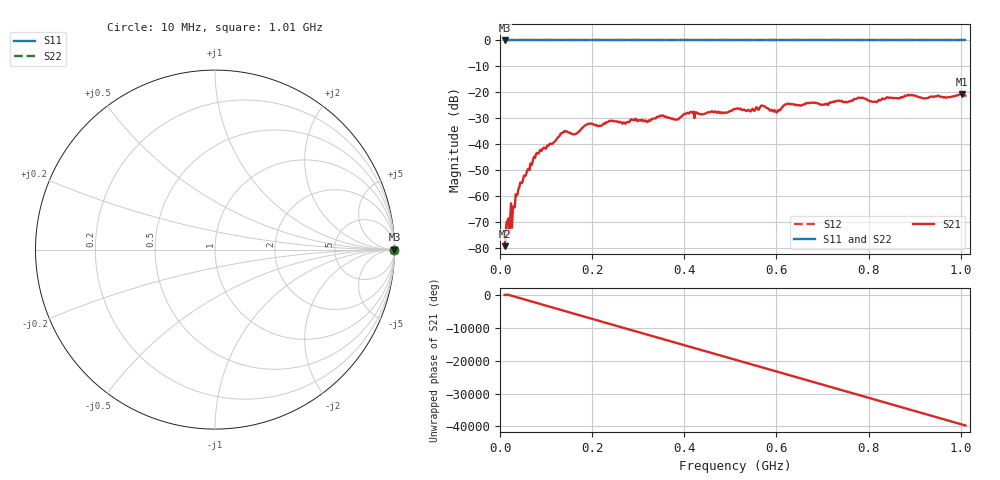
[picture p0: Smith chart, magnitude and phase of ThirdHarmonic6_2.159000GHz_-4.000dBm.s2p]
! 8/17/2025 1:46:10 AM
! C:\ANRITSUVNA\TEMP\TEMP.S2P
! CHANNEL.1
! TR.MEASUREMENT
! RAW.DATA
! RF.CORRECTION.OFF
! AVERAGING.OFF
! IF.BANDWIDTH: 5KHZ
! SWEEPTYPE:  FREQ.SWEEP(Linear)
! Reference Plane Port Info
! PORT:  PORT1  PORT2
! DISTANCE:  0  m  0  m
! TIME:  0  s  0  s
! PHASE.OFFSET:  0  deg.  0  deg.
! LOSS:  0  dB  0  dB
! REF.LOSS:  0  dB  0  dB
! REF.FREQ:  0  Hz  0  Hz
! Power Info
! POWER:  -20  dBm  -20  dBm
! EFF.POWER:  -20  dBm  -20  dBm
! SOURCE.ATTEN:  0  dB  0  dB
! TEST.ATTEN:  0  dB  0  dB
# GHZ S RI R 50.0
! FREQ.GHZ  S11RE  S11IM  S21RE  S21IM  S12RE  S12IM  S22RE  S22IM
!; PortSelection: Port_12
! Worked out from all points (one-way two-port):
!   501 points, 10 MHz to 1.01 GHz, reference 50 ohm
!   highest |S21| = -20.68 dB at 1.002 GHz (marker M1); lowest = -79.3 dB at 10 MHz (marker M2)
!   lowest |S11| = 0.0 dB at 10 MHz (marker M3)
!   |S11| at or under -10 dB: nowhere
!   |S22| runs from 0.0 to 0.0 dB; largest |S21 - S12| = 1.1
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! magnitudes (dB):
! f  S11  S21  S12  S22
! 10 MHz  0.0  -79.3  0.0  0.0
! 14 MHz  0.0  -70.2  0.0  0.0
! 20 MHz  0.0  -74.8  0.0  0.0
! 24 MHz  0.0  -62.8  0.0  0.0
! 38 MHz  0.0  -59.5  0.0  0.0
! 76 MHz  0.0  -45.3  0.0  0.0
! 136 MHz  0.0  -35.6  0.0  0.0
! 162 MHz  0.0  -36.3  0.0  0.0
! 178 MHz  0.0  -33.8  0.0  0.0
! 194 MHz  0.0  -32.0  0.0  0.0
! 322 MHz  0.0  -31.1  0.0  0.0
! 344 MHz  0.0  -29.5  0.0  0.0
! 382 MHz  0.0  -30.5  0.0  0.0
! 416 MHz  0.0  -27.8  0.0  0.0
! 510 MHz  0.0  -26.4  0.0  0.0
! 570 MHz  0.0  -25.2  0.0  0.0
! 598 MHz  0.0  -27.4  0.0  0.0
! 622 MHz  0.0  -24.5  0.0  0.0
! 678 MHz  0.0  -23.9  0.0  0.0
! 844 MHz  0.0  -22.1  0.0  0.0
! 1.002 GHz  0.0  -20.7  0.0  0.0
! 1.01 GHz  0.0  -21.3  0.0  0.0
